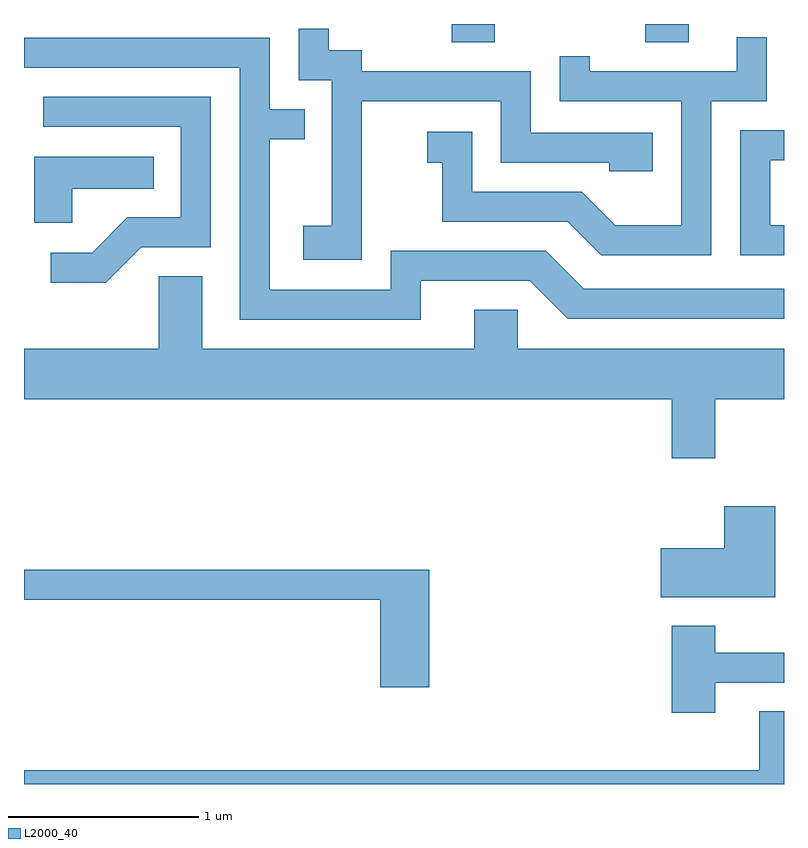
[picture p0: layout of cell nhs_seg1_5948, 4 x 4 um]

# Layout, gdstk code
import gdstk
lib = gdstk.Library(unit=1e-6, precision=1e-09)
def R(c, l, rs):  # rectangles x0, y0, x1, y1
    for r in rs: c.add(gdstk.rectangle(r[:2], r[2:], *l))
def P(c, l, *ps):  # polygons
    for p in ps: c.add(gdstk.Polygon(p, *l))
L2000_40 = (2000, 40)

nhs_seg1_5948 = lib.new_cell('nhs_seg1_5948')
R(nhs_seg1_5948, L2000_40, [(365.861,963.616,366.089,963.712), (366.881,963.616,367.109,963.712)])
P(nhs_seg1_5948, L2000_40, [(365.389,963.306),(366.121,963.306),(366.121,962.981),(366.691,962.981),(366.691,962.936),(366.919,962.936),(366.919,963.139),(366.279,963.139),(366.279,963.464),(365.389,963.464),(365.389,963.574),(365.214,963.574),(365.214,963.688),(365.056,963.688),(365.056,963.416),(365.231,963.416),(365.231,962.649),(365.081,962.649),(365.081,962.471),(365.389,962.471)],
  [(367.229,963.306),(367.519,963.306),(367.519,963.643),(367.361,963.643),(367.361,963.464),(366.589,963.464),(366.589,963.543),(366.431,963.543),(366.431,963.306),(367.071,963.306),(367.071,962.654),(366.722,962.654),(366.547,962.829),(365.969,962.829),(365.969,963.144),(365.733,963.144),(365.733,962.981),(365.811,962.981),(365.811,962.671),(366.474,962.671),(366.649,962.496),(367.229,962.496)],
  [(365.699,962.361),(366.274,962.361),(366.474,962.161),(367.611,962.161),(367.611,962.319),(366.557,962.319),(366.357,962.519),(365.541,962.519),(365.541,962.314),(364.904,962.314),(364.904,963.106),(365.088,963.106),(365.088,963.264),(364.904,963.264),(364.904,963.639),(363.611,963.639),(363.611,963.481),(364.746,963.481),(364.746,962.156),(365.699,962.156)],
  [(364.227,962.536),(364.594,962.536),(364.594,963.329),(363.713,963.329),(363.713,963.171),(364.436,963.171),(364.436,962.694),(364.154,962.694),(363.969,962.509),(363.753,962.509),(363.753,962.351),(364.042,962.351)],
  [(367.611,962.654),(367.539,962.654),(367.539,962.996),(367.611,962.996),(367.611,963.154),(367.381,963.154),(367.381,962.496),(367.611,962.496)],
  [(363.864,962.846),(364.293,962.846),(364.293,963.014),(363.666,963.014),(363.666,962.666),(363.864,962.666)],
  [(367.249,961.736),(367.611,961.736),(367.611,962.004),(366.209,962.004),(366.209,962.209),(365.981,962.209),(365.981,962.004),(364.549,962.004),(364.549,962.384),(364.321,962.384),(364.321,962.004),(363.611,962.004),(363.611,961.736),(367.021,961.736),(367.021,961.426),(367.249,961.426)],
  [(367.564,961.174),(367.296,961.174),(367.296,960.954),(366.961,960.954),(366.961,960.696),(367.564,960.696)],
  [(365.744,960.839),(363.611,960.839),(363.611,960.681),(365.486,960.681),(365.486,960.221),(365.744,960.221)],
  [(367.249,960.246),(367.611,960.246),(367.611,960.404),(367.249,960.404),(367.249,960.544),(367.021,960.544),(367.021,960.086),(367.249,960.086)],
  [(367.611,960.094),(367.481,960.094),(367.481,959.784),(363.611,959.784),(363.611,959.712),(367.611,959.712)])

lib.write_gds('nhs_seg1_5948.gds')
